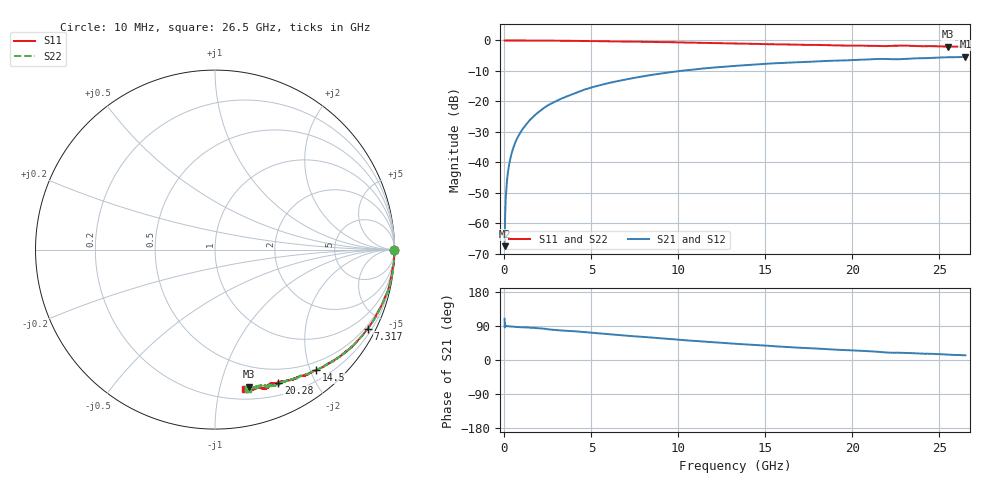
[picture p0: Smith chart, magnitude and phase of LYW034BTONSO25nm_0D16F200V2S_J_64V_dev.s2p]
!Keysight Technologies,N5222B,MY61253708,A.15.00.15
!Date: Wednesday, June 19, 2024 09:15:09
!Correction: S11(C  2-Port  )
!S21(C  2-Port  )
!S12(C  2-Port  )
!S22(C  2-Port  )
!S2P File: Measurements: S11, S21, S12, S22:
# Hz S  RI  R 50
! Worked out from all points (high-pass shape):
!   2651 points, 10 MHz to 26.5 GHz, reference 50 ohm
!   highest |S21| = -5.34 dB at 26.5 GHz (marker M1); lowest = -67.5 dB at 10 MHz (marker M2)
!   |S21| within 3 dB of the highest: 13.24 GHz to end of sweep
!   lowest |S11| = -2.1 dB at 25.5 GHz (marker M3), VSWR 8.39, Z = 15.3 - j61.4 ohm
!   |S11| at or under -10 dB: nowhere
!   |S22| runs from -2.0 to 0.0 dB; largest |S21 - S12| = 0.0068
!   S11 on the Smith chart (normalised r, x): 10 MHz: open; 7.317 GHz: 0.38, -4.07; 14.5 GHz: 0.36, -2.10; 20.28 GHz: 0.33, -1.53; 26.5 GHz: 0.28, -1.20
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1e7  0.9989 -0.00232  -0.000135 0.000402  -0.000199 0.000677  0.9983 -0.000839
7.997358e7  0.9999 -0.00587  3.92e-05 0.00275  -2.33e-05 0.00277  0.9993 -0.00533
1.699396e8  0.9999 -0.0122  7.21e-05 0.0058  6.2e-05 0.00584  0.9996 -0.0114
2.199208e8  0.9997 -0.0156  0.000132 0.0075  0.000127 0.00755  0.9992 -0.0147
2.798981e8  0.9998 -0.0197  0.00022 0.00959  0.000196 0.00958  0.9996 -0.0189
3.898566e8  0.9993 -0.0275  0.000383 0.0133  0.00034 0.0134  0.9991 -0.0264
5.198075e8  0.999 -0.0359  0.000598 0.0177  0.000681 0.0178  0.9991 -0.035
8.696755e8  0.9979 -0.0596  0.00173 0.0294  0.00171 0.0296  0.997 -0.0587
1.479445e9  0.9899 -0.1021  0.00419 0.0502  0.00425 0.0505  0.9928 -0.0979
2.359113e9  0.9806 -0.1574  0.011 0.0808  0.0113 0.0814  0.982 -0.1569
3.228785e9  0.9673 -0.214  0.0226 0.1072  0.0228 0.108  0.9693 -0.2104
4.428332e9  0.9391 -0.2863  0.0407 0.1449  0.0411 0.1458  0.9411 -0.2829
7.317242e9  0.8507 -0.4405  0.108 0.2137  0.1096 0.2144  0.8532 -0.4385
8.846664e9  0.7934 -0.5088  0.151 0.2395  0.1527 0.2403  0.7958 -0.5061
1.3255e10  0.6134 -0.6458  0.2804 0.2607  0.2828 0.2605  0.6189 -0.6435
1.450453e10  0.5653 -0.6714  0.3122 0.2559  0.3148 0.2555  0.5705 -0.667
1.767333e10  0.4393 -0.7206  0.3859 0.2297  0.3897 0.2279  0.4521 -0.718
2.028235e10  0.3532 -0.7428  0.4361 0.201  0.439 0.1985  0.372 -0.7445
2.209166e10  0.3051 -0.7494  0.4669 0.1656  0.4689 0.1627  0.3013 -0.7561
2.308129e10  0.2763 -0.7774  0.4716 0.1612  0.4728 0.1603  0.2785 -0.7589
2.550038e10  0.1873 -0.7643  0.5144 0.1278  0.5161 0.1277  0.2097 -0.7688
2.65e10  0.1688 -0.779  0.5277 0.1168  0.5271 0.113  0.1834 -0.7787
